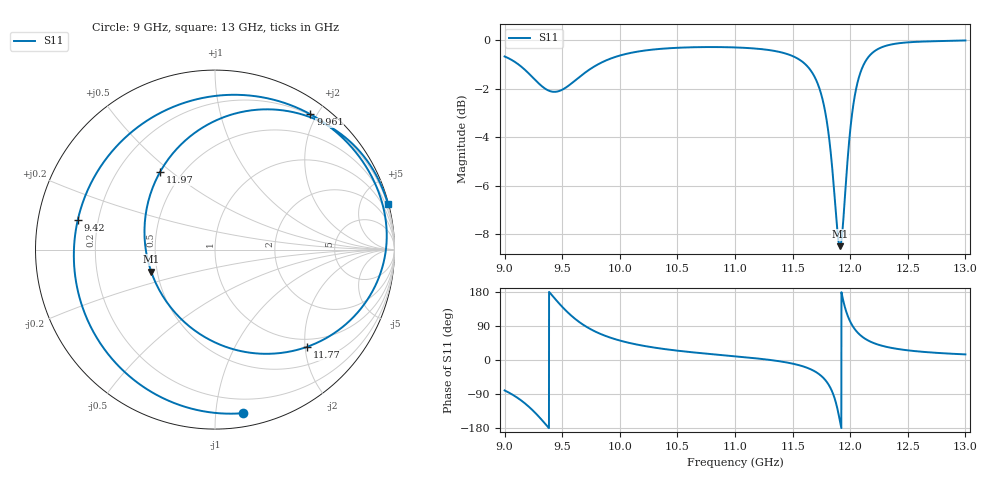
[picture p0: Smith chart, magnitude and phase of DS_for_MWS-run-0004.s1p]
! TOUCHSTONE file generated by CST DESIGN STUDIO
! Date and time: Tue Feb  4 17:29:44 2025
! Project name: C:\Work\MatlabApps\UnitCellOptimizationMatlab\CST\unitcell.cst
! Tree item: Tasks\Sweep1\SPara1\S-Parameters
! Header version: 2024
! Port assignment regex: !\s*Touchstone port\s*([0-9]+)\s*=\s*(CST MWS port|CST DES external port|CST DES block port)\s*(.+)\s* \(\"(.*)\"\)(\s*mode\s*([0-9]+))?.*
! Touchstone port assignment:
! Touchstone port 1 = CST DES external port 1 ("")
# GHz S MA R 50
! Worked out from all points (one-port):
!   4001 points, 9 GHz to 13 GHz, reference 50 ohm
!   lowest |S11| = -8.5 dB at 11.91 GHz (marker M1), VSWR 2.21, Z = 23.2 - j6.59 ohm
!   |S11| at or under -10 dB: nowhere
!   S11 on the Smith chart (normalised r, x): 9 GHz: 0.09, -1.18; 9.42 GHz: 0.12, +0.11; 9.961 GHz: 0.19, +1.91; 11.77 GHz: 0.84, -2.04; 11.97 GHz: 0.38, +0.46; 13 GHz: 0.08, +7.71
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9  0.9247 -80.3
9.115  0.8923 -100.5
9.209  0.8534 -122.9
9.324  0.8029 -158.4
9.42  0.7821 167.6
9.5  0.7898 140.4
9.586  0.8157 115.2
9.679  0.8495 93.7
9.815  0.8918 71.1
9.961  0.9226 54.8
10  0.9286 51.4
10.215  0.9509 37.0
10.5  0.9634 24.6
11  0.9651 9.8
11.5  0.9264 -9.6
11.661  0.8629 -25.0
11.765  0.7458 -46.6
11.847  0.5346 -86.0
11.878  0.4326 -115.1
11.911  0.3763 -161.1
11.939  0.4222 157.5
11.968  0.5292 125.4
12  0.6513 101.4
12.065  0.8195 72.2
12.179  0.9341 47.9
12.307  0.9721 35.2
12.5  0.9885 25.5
13  0.9975 14.8
